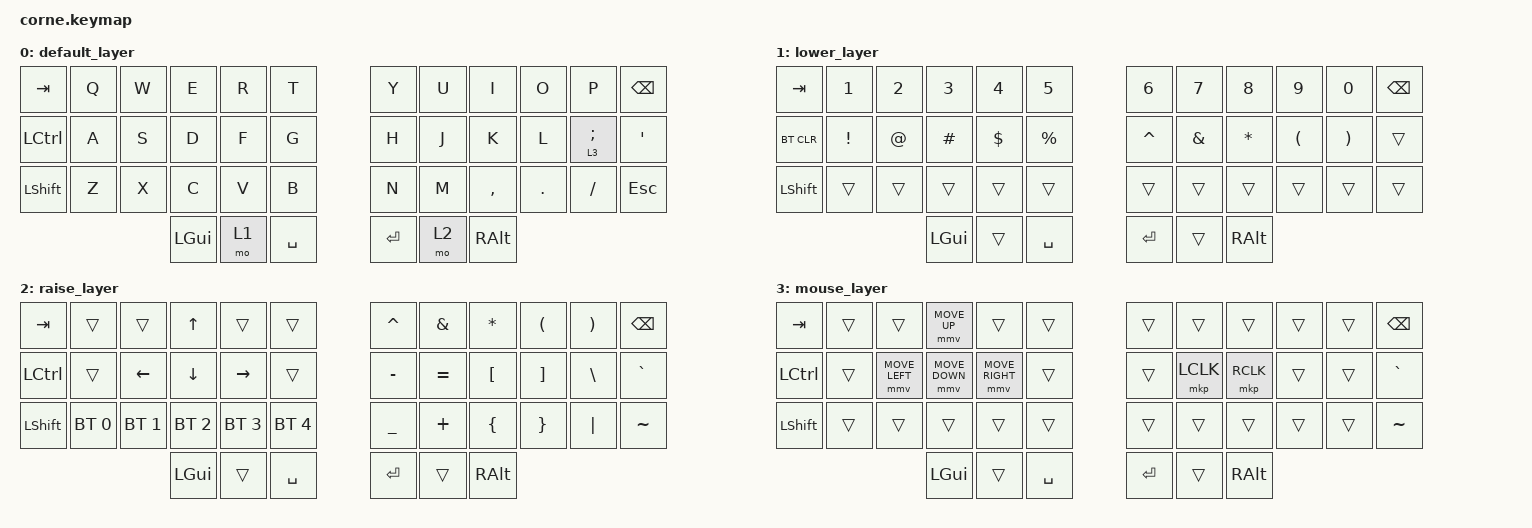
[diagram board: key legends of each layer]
/*
 * Copyright (c) 2020 The ZMK Contributors
 *
 * SPDX-License-Identifier: MIT
 */

#include <behaviors.dtsi>
#include <dt-bindings/zmk/keys.h>
#include <dt-bindings/zmk/bt.h>
#include <dt-bindings/zmk/pointing.h>

/ {
        keymap {
                compatible = "zmk,keymap";

                default_layer {
// -----------------------------------------------------------------------------------------
// |  TAB |  Q  |  W  |  E  |  R  |  T  |   |  Y  |  U   |  I  |  O  |  P  | BSPC |
// | CTRL |  A  |  S  |  D  |  F  |  G  |   |  H  |  J   |  K  |  L  |  ;  |  '   |
// | SHFT |  Z  |  X  |  C  |  V  |  B  |   |  N  |  M   |  ,  |  .  |  /  | ESC  |
//                    | GUI | LWR | SPC |   | ENT | RSE  | ALT |
                        bindings = <
   &kp TAB   &kp Q &kp W &kp E &kp R &kp T   &kp Y &kp U  &kp I     &kp O   &kp P      &kp BSPC
   &kp LCTRL &kp A &kp S &kp D &kp F &kp G   &kp H &kp J  &kp K     &kp L   &lt 3 SEMI &kp SQT
   &kp LSHFT &kp Z &kp X &kp C &kp V &kp B   &kp N &kp M  &kp COMMA &kp DOT &kp FSLH   &kp ESC
                  &kp LGUI &mo 1 &kp SPACE   &kp RET &mo 2 &kp RALT
                        >;
                };
                lower_layer {
// -----------------------------------------------------------------------------------------
// |  TAB |  1  |  2  |  3  |  4  |  5  |   |  6  |  7  |  8  |  9  |  0  | BSPC |
// | BTCLR|  !  |  @  |  #  |  $  |  %  |   |  ^  |  &  |  *  |  (  |  )  |      |
// | SHFT |     |     |     |     |     |   |     |     |     |     |     |      |
//                    | GUI |     | SPC |   | ENT |     | ALT |
                        bindings = <
   &kp TAB    &kp N1   &kp N2 &kp N3   &kp N4   &kp N5         &kp N6    &kp N7    &kp N8    &kp N9   &kp N0   &kp BSPC
   &bt BT_CLR &kp EXCL &kp AT &kp HASH &kp DLLR &kp PRCNT      &kp CARET &kp AMPS  &kp ASTRK &kp LPAR &kp RPAR &trans
   &kp LSHFT  &trans   &trans &trans   &trans   &trans         &trans    &trans    &trans    &trans   &trans   &trans
                                &kp LGUI &trans &kp SPACE      &kp RET  &trans   &kp RALT
                        >;
                };

                raise_layer {
// -----------------------------------------------------------------------------------------
// |  TAB |     |     |  UP |     |     |   |  ^  |  &  |  *  |  (  |  )  | BSPC |
// | CTRL |     | LFT | DWN | RGT |     |   |  -  |  =  |  [  |  ]  |  \  |  `   |
// | SHFT | BT1 | BT2 | BT3 | BT4 | BT5 |   |  _  |  +  |  {  |  }  | "|" |  ~   |
//                    | GUI |     | SPC |   | ENT |     | ALT |
                        bindings = <
   &kp  TAB  &trans       &trans       &kp UP       &trans       &trans           &kp CARET &kp AMPS  &kp ASTRK &kp LPAR &kp RPAR &kp BSPC
   &kp LCTRL &trans       &kp LEFT     &kp DOWN     &kp RIGHT    &trans           &kp MINUS &kp EQUAL &kp LBKT  &kp RBKT &kp BSLH &kp GRAVE
   &kp LSHFT &bt BT_SEL 0 &bt BT_SEL 1 &bt BT_SEL 2 &bt BT_SEL 3 &bt BT_SEL 4     &kp UNDER &kp PLUS  &kp LBRC  &kp RBRC &kp PIPE &kp TILDE
                                       &kp LGUI     &trans       &kp SPACE        &kp RET   &trans    &kp RALT
                        >;
                };

                mouse_layer {
// -----------------------------------------------------------------------------------------
// |  TAB |     |     |  UP |     |     |   |     |     |     |     |     | BSPC |
// | CTRL |     | LFT | DWN | RGT |     |   |     | LCLK| RCLK|     |     |  `   |
// | SHFT |     |     |     |     |     |   |     |     |     |     |     |  ~   |
//                    | GUI |     | SPC |   | ENT |     | ALT |
                        bindings = <
   &kp  TAB  &trans &trans         &mmv MOVE_UP       &trans          &trans           &trans  &trans    &trans    &trans &trans &kp BSPC
   &kp LCTRL &trans &mmv MOVE_LEFT &mmv MOVE_DOWN     &mmv MOVE_RIGHT &trans           &trans  &mkp LCLK &mkp RCLK &trans &trans &kp GRAVE
   &kp LSHFT &trans &trans         &trans   &trans                    &trans           &trans  &trans    &trans    &trans &trans &kp TILDE
                                   &kp LGUI &trans                    &kp SPACE        &kp RET &trans    &kp RALT
                        >;
                };
        };
};
